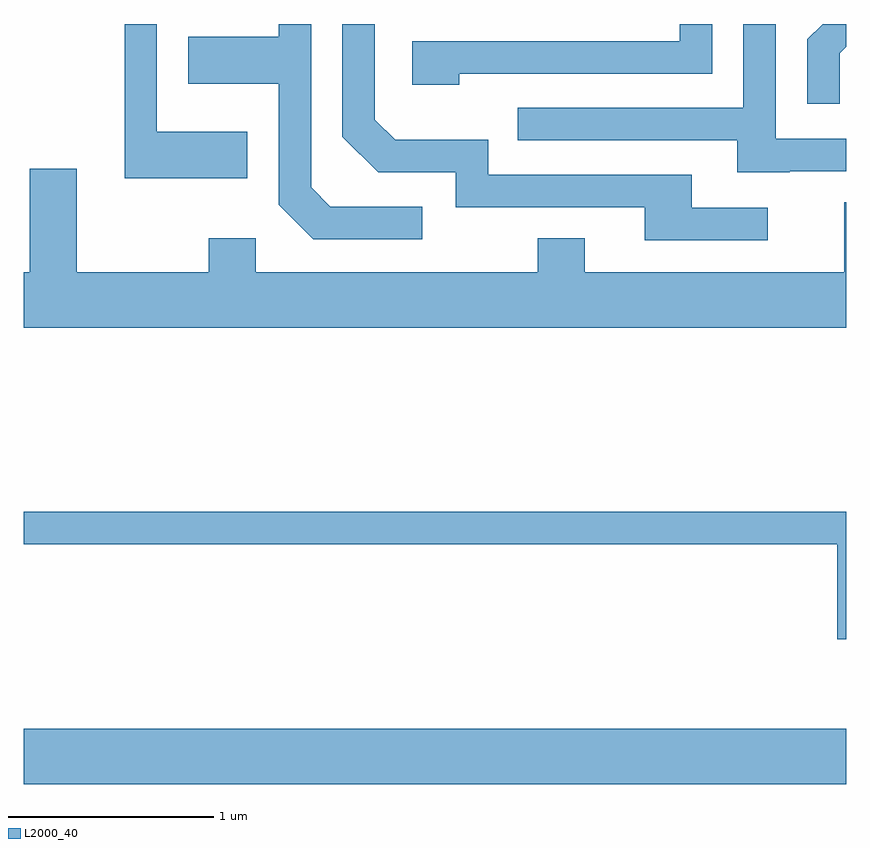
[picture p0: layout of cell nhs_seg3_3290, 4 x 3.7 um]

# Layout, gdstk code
import gdstk
lib = gdstk.Library(unit=1e-6, precision=1e-09)
def R(c, l, rs):  # rectangles x0, y0, x1, y1
    for r in rs: c.add(gdstk.rectangle(r[:2], r[2:], *l))
def P(c, l, *ps):  # polygons
    for p in ps: c.add(gdstk.Polygon(p, *l))
L2000_40 = (2000, 40)

nhs_seg3_3290 = lib.new_cell('nhs_seg3_3290')
R(nhs_seg3_3290, L2000_40, [(281.611,1168.196,285.611,1168.464)])
P(nhs_seg3_3290, L2000_40, [(285.335,1171.176),(285.611,1171.176),(285.611,1171.334),(285.269,1171.334),(285.269,1171.892),(285.111,1171.892),(285.111,1171.484),(284.013,1171.484),(284.013,1171.326),(285.081,1171.326),(285.081,1171.171),(285.335,1171.171)],
  [(282.699,1171.369),(282.259,1171.369),(282.259,1171.892),(282.101,1171.892),(282.101,1171.141),(282.699,1171.141)],
  [(283.548,1171.004),(283.102,1171.004),(283.009,1171.097),(283.009,1171.892),(282.851,1171.892),(282.851,1171.829),(282.411,1171.829),(282.411,1171.601),(282.851,1171.601),(282.851,1171.014),(283.019,1170.846),(283.548,1170.846)],
  [(283.729,1171.651),(284.959,1171.651),(284.959,1171.892),(284.801,1171.892),(284.801,1171.809),(283.501,1171.809),(283.501,1171.596),(283.729,1171.596)],
  [(285.579,1171.749),(285.611,1171.781),(285.611,1171.892),(285.496,1171.892),(285.421,1171.817),(285.421,1171.503),(285.579,1171.503)],
  [(285.228,1170.999),(284.859,1170.999),(284.859,1171.159),(283.869,1171.159),(283.869,1171.329),(283.417,1171.329),(283.319,1171.427),(283.319,1171.892),(283.161,1171.892),(283.161,1171.344),(283.334,1171.171),(283.711,1171.171),(283.711,1171.001),(284.631,1171.001),(284.631,1170.841),(285.228,1170.841)],
  [(285.611,1171.024),(285.601,1171.024),(285.601,1170.684),(284.339,1170.684),(284.339,1170.849),(284.111,1170.849),(284.111,1170.684),(282.739,1170.684),(282.739,1170.849),(282.511,1170.849),(282.511,1170.684),(281.869,1170.684),(281.869,1171.189),(281.641,1171.189),(281.641,1170.684),(281.611,1170.684),(281.611,1170.416),(285.611,1170.416)],
  [(285.611,1169.519),(281.611,1169.519),(281.611,1169.361),(285.566,1169.361),(285.566,1168.901),(285.611,1168.901)])

lib.write_gds('nhs_seg3_3290.gds')
